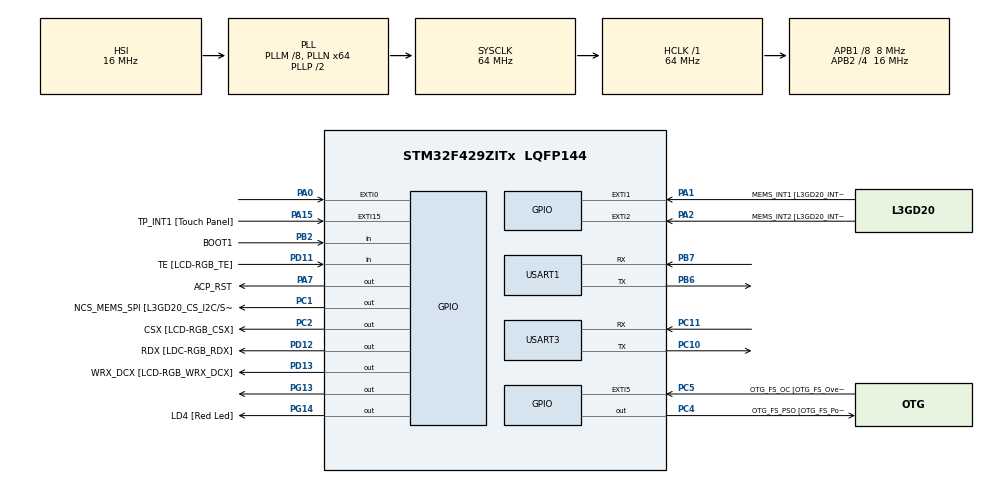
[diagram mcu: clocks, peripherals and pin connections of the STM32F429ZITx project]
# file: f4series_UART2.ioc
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Mcu.Family=STM32F4
Mcu.Name=STM32F429ZITx
Mcu.Package=LQFP144
NVIC.EXTI0_IRQn=true\:0\:0\:false\:false\:true\:true\:true\:true
NVIC.PriorityGroup=NVIC_PRIORITYGROUP_0
NVIC.USART1_IRQn=true\:0\:0\:false\:false\:true\:true\:true\:true
NVIC.USART3_IRQn=true\:0\:0\:false\:false\:true\:true\:true\:true
PA0/WKUP.Signal=GPXTI0
PA1.GPIO_Label=MEMS_INT1 [L3GD20_INT1]
PA1.GPIO_ModeDefaultEXTI=GPIO_MODE_EVT_RISING
PA1.GPIO_PuPd=GPIO_NOPULL
PA1.Signal=GPXTI1
PA11.GPIO_Label=R4
PA11.GPIO_Mode=GPIO_MODE_AF_PP
PA11.GPIO_PuPd=GPIO_NOPULL
PA11.GPIO_Speed=GPIO_SPEED_FREQ_LOW
PA11.Signal=LTDC_R4
PA12.Signal=CAN1_TX
PA13.GPIO_Label=SWDIO
PA13.Signal=SYS_JTMS-SWDIO
PA14.GPIO_Label=SWCLK
PA14.Signal=SYS_JTCK-SWCLK
PA15.GPIO_Label=TP_INT1 [Touch Panel]
PA15.GPIO_ModeDefaultEXTI=GPIO_MODE_EVT_RISING
PA15.GPIO_PuPd=GPIO_NOPULL
PA15.Signal=GPXTI15
PA2.GPIO_Label=MEMS_INT2 [L3GD20_INT2]
PA2.GPIO_ModeDefaultEXTI=GPIO_MODE_EVT_RISING
PA2.GPIO_PuPd=GPIO_NOPULL
PA2.Signal=GPXTI2
PA3.GPIO_Label=B5
PA3.GPIO_Mode=GPIO_MODE_AF_PP
PA3.GPIO_PuPd=GPIO_NOPULL
PA3.GPIO_Speed=GPIO_SPEED_FREQ_LOW
PA3.Signal=LTDC_B5
PA4.GPIO_Label=VSYNC
PA4.GPIO_Mode=GPIO_MODE_AF_PP
PA4.GPIO_PuPd=GPIO_NOPULL
PA4.GPIO_Speed=GPIO_SPEED_FREQ_LOW
PA4.Signal=LTDC_VSYNC
PA6.GPIO_Label=G2
PA6.GPIO_Mode=GPIO_MODE_AF_PP
PA6.GPIO_PuPd=GPIO_NOPULL
PA6.GPIO_Speed=GPIO_SPEED_FREQ_LOW
PA6.Signal=LTDC_G2
PA7.GPIO_Label=ACP_RST
PA7.GPIO_Mode=GPIO_MODE_OUTPUT_PP
PA7.GPIO_PuPd=GPIO_NOPULL
PA7.GPIO_Speed=GPIO_SPEED_FREQ_LOW
PA7.Signal=GPIO_Output
PA8.GPIO_Label=I2C3_SCL [ACP/RF_SCL]
PA8.GPIO_Mode=GPIO_MODE_AF_OD
PA8.GPIO_PuPd=GPIO_NOPULL
PA8.GPIO_Speed=GPIO_SPEED_FREQ_LOW
PA8.Signal=I2C3_SCL
PB0.GPIO_Label=R3
PB0.GPIO_Mode=GPIO_MODE_AF_PP
PB0.GPIO_PuPd=GPIO_NOPULL
PB0.GPIO_Speed=GPIO_SPEED_FREQ_LOW
PB0.Signal=LTDC_R3
PB1.GPIO_Label=R6
PB1.GPIO_Mode=GPIO_MODE_AF_PP
PB1.GPIO_PuPd=GPIO_NOPULL
PB1.GPIO_Speed=GPIO_SPEED_FREQ_LOW
PB1.Signal=LTDC_R6
PB10.GPIO_Label=G4
PB10.GPIO_Mode=GPIO_MODE_AF_PP
PB10.GPIO_PuPd=GPIO_NOPULL
PB10.GPIO_Speed=GPIO_SPEED_FREQ_LOW
PB10.Signal=LTDC_G4
PB11.GPIO_Label=G5
PB11.GPIO_Mode=GPIO_MODE_AF_PP
PB11.GPIO_PuPd=GPIO_NOPULL
PB11.GPIO_Speed=GPIO_SPEED_FREQ_LOW
PB11.Signal=LTDC_G5
PB12.GPIO_Label=OTG_HS_ID
PB12.GPIO_Mode=GPIO_MODE_AF_PP
PB12.GPIO_PuPd=GPIO_NOPULL
PB12.GPIO_Speed=GPIO_SPEED_FREQ_LOW
PB12.Signal=USB_OTG_HS_ID
PB13.GPIO_Label=VBUS_HS
PB13.GPIO_Mode=GPIO_MODE_INPUT
PB13.GPIO_PuPd=GPIO_NOPULL
PB13.Signal=USB_OTG_HS_VBUS
PB14.GPIO_Label=OTG_HS_DM
PB14.GPIO_Mode=GPIO_MODE_AF_PP
PB14.GPIO_PuPd=GPIO_NOPULL
PB14.GPIO_Speed=GPIO_SPEED_FREQ_LOW
PB14.Signal=USB_OTG_HS_DM
PB15.GPIO_Label=OTG_HS_DP
PB15.GPIO_Mode=GPIO_MODE_AF_PP
PB15.GPIO_PuPd=GPIO_NOPULL
PB15.GPIO_Speed=GPIO_SPEED_FREQ_LOW
PB15.Signal=USB_OTG_HS_DP
PB2/BOOT1.GPIO_Label=BOOT1
PB2/BOOT1.GPIO_Mode=GPIO_MODE_INPUT
PB2/BOOT1.GPIO_PuPd=GPIO_NOPULL
PB2/BOOT1.Signal=GPIO_Input
PB5.Signal=FMC_SDCKE1
PB6.Mode=Asynchronous
PB6.Signal=USART1_TX
PB7.Mode=Asynchronous
PB7.Signal=USART1_RX
PB8.GPIO_Label=B6
PB8.GPIO_Mode=GPIO_MODE_AF_PP
PB8.GPIO_PuPd=GPIO_NOPULL
PB8.GPIO_Speed=GPIO_SPEED_FREQ_LOW
PB8.Signal=LTDC_B6
PB9.GPIO_Label=B7
PB9.GPIO_Mode=GPIO_MODE_AF_PP
PB9.GPIO_PuPd=GPIO_NOPULL
PB9.GPIO_Speed=GPIO_SPEED_FREQ_LOW
PB9.Signal=LTDC_B7
PC0.GPIO_Label=SDNWE
PC0.GPIO_Mode=GPIO_MODE_AF_PP
PC0.GPIO_PuPd=GPIO_NOPULL
PC0.GPIO_Speed=GPIO_SPEED_FREQ_VERY_HIGH
PC0.Signal=FMC_SDNWE
PC1.GPIO_Label=NCS_MEMS_SPI [L3GD20_CS_I2C/SPI]
PC1.GPIO_Mode=GPIO_MODE_OUTPUT_PP
PC1.GPIO_PuPd=GPIO_NOPULL
PC1.GPIO_Speed=GPIO_SPEED_FREQ_LOW
PC1.Signal=GPIO_Output
PC10.Mode=Asynchronous
PC10.Signal=USART3_TX
PC11.Mode=Asynchronous
PC11.Signal=USART3_RX
PC14/OSC32_IN.GPIO_Label=PC14-OSC32_IN
PC14/OSC32_IN.Signal=RCC_OSC32_IN
PC15/OSC32_OUT.GPIO_Label=PC15-OSC32_OUT
PC15/OSC32_OUT.Signal=RCC_OSC32_OUT
PC2.GPIO_Label=CSX [LCD-RGB_CSX]
PC2.GPIO_Mode=GPIO_MODE_OUTPUT_PP
PC2.GPIO_PuPd=GPIO_NOPULL
PC2.GPIO_Speed=GPIO_SPEED_FREQ_LOW
PC2.Signal=GPIO_Output
PC4.GPIO_Label=OTG_FS_PSO [OTG_FS_PowerSwitchOn]
PC4.GPIO_Mode=GPIO_MODE_OUTPUT_PP
PC4.GPIO_PuPd=GPIO_NOPULL
PC4.GPIO_Speed=GPIO_SPEED_FREQ_LOW
PC4.Signal=GPIO_Output
PC5.GPIO_Label=OTG_FS_OC [OTG_FS_OverCurrent]
PC5.GPIO_ModeDefaultEXTI=GPIO_MODE_EVT_RISING
PC5.Signal=GPXTI5
PC6.GPIO_Label=HSYNC
PC6.GPIO_Mode=GPIO_MODE_AF_PP
PC6.GPIO_PuPd=GPIO_NOPULL
PC6.GPIO_Speed=GPIO_SPEED_FREQ_LOW
PC6.Signal=LTDC_HSYNC
PC7.GPIO_Label=G6
PC7.GPIO_Mode=GPIO_MODE_AF_PP
PC7.GPIO_PuPd=GPIO_NOPULL
PC7.GPIO_Speed=GPIO_SPEED_FREQ_LOW
PC7.Signal=LTDC_G6
PC9.GPIO_Label=I2C3_SDA [ACP/RF_SDA]
PC9.GPIO_Mode=GPIO_MODE_AF_OD
PC9.GPIO_PuPd=GPIO_NOPULL
PC9.GPIO_Speed=GPIO_SPEED_FREQ_LOW
PC9.Signal=I2C3_SDA
PD0.GPIO_Label=D2
PD0.GPIO_Mode=GPIO_MODE_AF_PP
PD0.GPIO_PuPd=GPIO_NOPULL
PD0.GPIO_Speed=GPIO_SPEED_FREQ_VERY_HIGH
PD0.Signal=FMC_D2_DA2
PD1.GPIO_Label=D3
PD1.GPIO_Mode=GPIO_MODE_AF_PP
PD1.GPIO_PuPd=GPIO_NOPULL
PD1.GPIO_Speed=GPIO_SPEED_FREQ_VERY_HIGH
PD1.Signal=FMC_D3_DA3
PD10.GPIO_Label=D15
PD10.GPIO_Mode=GPIO_MODE_AF_PP
PD10.GPIO_PuPd=GPIO_NOPULL
PD10.GPIO_Speed=GPIO_SPEED_FREQ_VERY_HIGH
PD10.Signal=FMC_D15_DA15
PD11.GPIO_Label=TE [LCD-RGB_TE]
PD11.GPIO_Mode=GPIO_MODE_INPUT
PD11.GPIO_PuPd=GPIO_NOPULL
PD11.Signal=GPIO_Input
PD12.GPIO_Label=RDX [LDC-RGB_RDX]
PD12.GPIO_Mode=GPIO_MODE_OUTPUT_PP
PD12.GPIO_PuPd=GPIO_NOPULL
PD12.GPIO_Speed=GPIO_SPEED_FREQ_LOW
PD12.Signal=GPIO_Output
PD13.GPIO_Label=WRX_DCX [LCD-RGB_WRX_DCX]
PD13.GPIO_Mode=GPIO_MODE_OUTPUT_PP
PD13.GPIO_PuPd=GPIO_NOPULL
PD13.GPIO_Speed=GPIO_SPEED_FREQ_LOW
PD13.Signal=GPIO_Output
PD14.GPIO_Label=D0
PD14.GPIO_Mode=GPIO_MODE_AF_PP
PD14.GPIO_PuPd=GPIO_NOPULL
PD14.GPIO_Speed=GPIO_SPEED_FREQ_VERY_HIGH
PD14.Signal=FMC_D0_DA0
PD15.GPIO_Label=D1
PD15.GPIO_Mode=GPIO_MODE_AF_PP
PD15.GPIO_PuPd=GPIO_NOPULL
PD15.GPIO_Speed=GPIO_SPEED_FREQ_VERY_HIGH
PD15.Signal=FMC_D1_DA1
PD3.GPIO_Label=G7
PD3.GPIO_Mode=GPIO_MODE_AF_PP
PD3.GPIO_PuPd=GPIO_NOPULL
PD3.GPIO_Speed=GPIO_SPEED_FREQ_LOW
PD3.Signal=LTDC_G7
PD6.GPIO_Label=B2
PD6.GPIO_Mode=GPIO_MODE_AF_PP
PD6.GPIO_PuPd=GPIO_NOPULL
PD6.GPIO_Speed=GPIO_SPEED_FREQ_LOW
PD6.Signal=LTDC_B2
PD8.GPIO_Label=D13
PD8.GPIO_Mode=GPIO_MODE_AF_PP
PD8.GPIO_PuPd=GPIO_NOPULL
PD8.GPIO_Speed=GPIO_SPEED_FREQ_VERY_HIGH
PD8.Signal=FMC_D13_DA13
PD9.GPIO_Label=D14
PD9.GPIO_Mode=GPIO_MODE_AF_PP
PD9.GPIO_PuPd=GPIO_NOPULL
PD9.GPIO_Speed=GPIO_SPEED_FREQ_VERY_HIGH
PD9.Signal=FMC_D14_DA14
PE0.GPIO_Label=NBL0 [SDRAM_LDQM]
PE0.GPIO_Mode=GPIO_MODE_AF_PP
PE0.GPIO_PuPd=GPIO_NOPULL
PE0.GPIO_Speed=GPIO_SPEED_FREQ_VERY_HIGH
PE0.Signal=FMC_NBL0
PE1.GPIO_Label=NBL1 [SDRAM_UDQM]
PE1.GPIO_Mode=GPIO_MODE_AF_PP
PE1.GPIO_PuPd=GPIO_NOPULL
PE1.GPIO_Speed=GPIO_SPEED_FREQ_VERY_HIGH
PE1.Signal=FMC_NBL1
PE10.GPIO_Label=D7
PE10.GPIO_Mode=GPIO_MODE_AF_PP
PE10.GPIO_PuPd=GPIO_NOPULL
PE10.GPIO_Speed=GPIO_SPEED_FREQ_VERY_HIGH
PE10.Signal=FMC_D7_DA7
PE11.GPIO_Label=D8
PE11.GPIO_Mode=GPIO_MODE_AF_PP
PE11.GPIO_PuPd=GPIO_NOPULL
PE11.GPIO_Speed=GPIO_SPEED_FREQ_VERY_HIGH
PE11.Signal=FMC_D8_DA8
PE12.GPIO_Label=D9
PE12.GPIO_Mode=GPIO_MODE_AF_PP
PE12.GPIO_PuPd=GPIO_NOPULL
PE12.GPIO_Speed=GPIO_SPEED_FREQ_VERY_HIGH
PE12.Signal=FMC_D9_DA9
PE13.GPIO_Label=D10
PE13.GPIO_Mode=GPIO_MODE_AF_PP
PE13.GPIO_PuPd=GPIO_NOPULL
PE13.GPIO_Speed=GPIO_SPEED_FREQ_VERY_HIGH
PE13.Signal=FMC_D10_DA10
PE14.GPIO_Label=D11
PE14.GPIO_Mode=GPIO_MODE_AF_PP
PE14.GPIO_PuPd=GPIO_NOPULL
PE14.GPIO_Speed=GPIO_SPEED_FREQ_VERY_HIGH
PE14.Signal=FMC_D11_DA11
PE15.GPIO_Label=D12
PE15.GPIO_Mode=GPIO_MODE_AF_PP
PE15.GPIO_PuPd=GPIO_NOPULL
PE15.GPIO_Speed=GPIO_SPEED_FREQ_VERY_HIGH
PE15.Signal=FMC_D12_DA12
PE7.GPIO_Label=D4
PE7.GPIO_Mode=GPIO_MODE_AF_PP
PE7.GPIO_PuPd=GPIO_NOPULL
PE7.GPIO_Speed=GPIO_SPEED_FREQ_VERY_HIGH
PE7.Signal=FMC_D4_DA4
PE8.GPIO_Label=D5
PE8.GPIO_Mode=GPIO_MODE_AF_PP
PE8.GPIO_PuPd=GPIO_NOPULL
PE8.GPIO_Speed=GPIO_SPEED_FREQ_VERY_HIGH
PE8.Signal=FMC_D5_DA5
PE9.GPIO_Label=D6
PE9.GPIO_Mode=GPIO_MODE_AF_PP
PE9.GPIO_PuPd=GPIO_NOPULL
PE9.GPIO_Speed=GPIO_SPEED_FREQ_VERY_HIGH
PE9.Signal=FMC_D6_DA6
PF0.GPIO_Label=A0
PF0.GPIO_Mode=GPIO_MODE_AF_PP
PF0.GPIO_PuPd=GPIO_NOPULL
PF0.GPIO_Speed=GPIO_SPEED_FREQ_VERY_HIGH
PF0.Signal=FMC_A0
PF1.GPIO_Label=A1
PF1.GPIO_Mode=GPIO_MODE_AF_PP
PF1.GPIO_PuPd=GPIO_NOPULL
PF1.GPIO_Speed=GPIO_SPEED_FREQ_VERY_HIGH
PF1.Signal=FMC_A1
PF10.GPIO_Label=ENABLE [LCD-RGB_ENABLE]
PF10.GPIO_Mode=GPIO_MODE_AF_PP
PF10.GPIO_PuPd=GPIO_NOPULL
PF10.GPIO_Speed=GPIO_SPEED_FREQ_LOW
PF10.Signal=LTDC_DE
PF11.GPIO_Label=SDNRAS
PF11.GPIO_Mode=GPIO_MODE_AF_PP
PF11.GPIO_PuPd=GPIO_NOPULL
PF11.GPIO_Speed=GPIO_SPEED_FREQ_VERY_HIGH
PF11.Signal=FMC_SDNRAS
PF12.GPIO_Label=A6
PF12.GPIO_Mode=GPIO_MODE_AF_PP
PF12.GPIO_PuPd=GPIO_NOPULL
PF12.GPIO_Speed=GPIO_SPEED_FREQ_VERY_HIGH
PF12.Signal=FMC_A6
PF13.GPIO_Label=A7
PF13.GPIO_Mode=GPIO_MODE_AF_PP
PF13.GPIO_PuPd=GPIO_NOPULL
PF13.GPIO_Speed=GPIO_SPEED_FREQ_VERY_HIGH
PF13.Signal=FMC_A7
PF14.GPIO_Label=A8
PF14.GPIO_Mode=GPIO_MODE_AF_PP
PF14.GPIO_PuPd=GPIO_NOPULL
PF14.GPIO_Speed=GPIO_SPEED_FREQ_VERY_HIGH
PF14.Signal=FMC_A8
PF15.GPIO_Label=A9
PF15.GPIO_Mode=GPIO_MODE_AF_PP
PF15.GPIO_PuPd=GPIO_NOPULL
PF15.GPIO_Speed=GPIO_SPEED_FREQ_VERY_HIGH
PF15.Signal=FMC_A9
PF2.GPIO_Label=A2
PF2.GPIO_Mode=GPIO_MODE_AF_PP
PF2.GPIO_PuPd=GPIO_NOPULL
PF2.GPIO_Speed=GPIO_SPEED_FREQ_VERY_HIGH
PF2.Signal=FMC_A2
PF3.GPIO_Label=A3
PF3.GPIO_Mode=GPIO_MODE_AF_PP
PF3.GPIO_PuPd=GPIO_NOPULL
PF3.GPIO_Speed=GPIO_SPEED_FREQ_VERY_HIGH
PF3.Signal=FMC_A3
PF4.GPIO_Label=A4
PF4.GPIO_Mode=GPIO_MODE_AF_PP
PF4.GPIO_PuPd=GPIO_NOPULL
PF4.GPIO_Speed=GPIO_SPEED_FREQ_VERY_HIGH
PF4.Signal=FMC_A4
PF5.GPIO_Label=A5
PF5.GPIO_Mode=GPIO_MODE_AF_PP
PF5.GPIO_PuPd=GPIO_NOPULL
PF5.GPIO_Speed=GPIO_SPEED_FREQ_VERY_HIGH
PF5.Signal=FMC_A5
PF7.GPIO_Label=SPI5_SCK [L3GD20_SCL/SPC]
PF7.GPIO_Mode=GPIO_MODE_AF_PP
PF7.GPIO_PuPd=GPIO_NOPULL
PF7.GPIO_Speed=GPIO_SPEED_FREQ_LOW
PF7.Signal=SPI5_SCK
PF8.GPIO_Label=SPI5_MISO [L3GD20_SDO]
PF8.GPIO_Mode=GPIO_MODE_AF_PP
PF8.GPIO_PuPd=GPIO_NOPULL
PF8.GPIO_Speed=GPIO_SPEED_FREQ_LOW
PF8.Signal=SPI5_MISO
PF9.GPIO_Label=SPI5_MOSI [L3GD20_SDA/SDI/SDO]
PF9.GPIO_Mode=GPIO_MODE_AF_PP
PF9.GPIO_PuPd=GPIO_NOPULL
PF9.GPIO_Speed=GPIO_SPEED_FREQ_LOW
PF9.Signal=SPI5_MOSI
PG0.GPIO_Label=A10
PG0.GPIO_Mode=GPIO_MODE_AF_PP
PG0.GPIO_PuPd=GPIO_NOPULL
PG0.GPIO_Speed=GPIO_SPEED_FREQ_VERY_HIGH
PG0.Signal=FMC_A10
PG1.GPIO_Label=A11
PG1.GPIO_Mode=GPIO_MODE_AF_PP
PG1.GPIO_PuPd=GPIO_NOPULL
PG1.GPIO_Speed=GPIO_SPEED_FREQ_VERY_HIGH
PG1.Signal=FMC_A11
PG10.GPIO_Label=G3
PG10.GPIO_Mode=GPIO_MODE_AF_PP
PG10.GPIO_PuPd=GPIO_NOPULL
PG10.GPIO_Speed=GPIO_SPEED_FREQ_LOW
PG10.Signal=LTDC_G3
PG11.GPIO_Label=B3
PG11.GPIO_Mode=GPIO_MODE_AF_PP
PG11.GPIO_PuPd=GPIO_NOPULL
PG11.GPIO_Speed=GPIO_SPEED_FREQ_LOW
PG11.Signal=LTDC_B3
PG12.GPIO_Label=B4
PG12.GPIO_Mode=GPIO_MODE_AF_PP
PG12.GPIO_PuPd=GPIO_NOPULL
PG12.GPIO_Speed=GPIO_SPEED_FREQ_LOW
PG12.Signal=LTDC_B4
PG13.Signal=GPIO_Output
PG14.GPIO_Label=LD4 [Red Led]
PG14.GPIO_Mode=GPIO_MODE_OUTPUT_PP
PG14.GPIO_PuPd=GPIO_NOPULL
PG14.GPIO_Speed=GPIO_SPEED_FREQ_LOW
PG14.Signal=GPIO_Output
PG15.GPIO_Label=SDNCAS
PG15.GPIO_Mode=GPIO_MODE_AF_PP
PG15.GPIO_PuPd=GPIO_NOPULL
PG15.GPIO_Speed=GPIO_SPEED_FREQ_VERY_HIGH
PG15.Signal=FMC_SDNCAS
PG4.GPIO_Label=BA0
PG4.GPIO_Mode=GPIO_MODE_AF_PP
PG4.GPIO_PuPd=GPIO_NOPULL
PG4.GPIO_Speed=GPIO_SPEED_FREQ_VERY_HIGH
PG4.Signal=FMC_A14_BA0
PG5.GPIO_Label=BA1
PG5.GPIO_Mode=GPIO_MODE_AF_PP
PG5.GPIO_PuPd=GPIO_NOPULL
PG5.GPIO_Speed=GPIO_SPEED_FREQ_VERY_HIGH
PG5.Signal=FMC_A15_BA1
PG6.GPIO_Label=R7
PG6.GPIO_Mode=GPIO_MODE_AF_PP
PG6.GPIO_PuPd=GPIO_NOPULL
PG6.GPIO_Speed=GPIO_SPEED_FREQ_LOW
PG6.Signal=LTDC_R7
PG7.GPIO_Label=DOTCLK [LCT-RGB_DOTCLK]
PG7.GPIO_Mode=GPIO_MODE_AF_PP
PG7.GPIO_PuPd=GPIO_NOPULL
PG7.GPIO_Speed=GPIO_SPEED_FREQ_LOW
PG7.Signal=LTDC_CLK
PG8.GPIO_Label=SDCLK
PG8.GPIO_Mode=GPIO_MODE_AF_PP
PG8.GPIO_PuPd=GPIO_NOPULL
PG8.GPIO_Speed=GPIO_SPEED_FREQ_VERY_HIGH
PG8.Signal=FMC_SDCLK
PH0/OSC_IN.GPIO_Label=PH0-OSC_IN
PH0/OSC_IN.Signal=RCC_OSC_IN
PH1/OSC_OUT.GPIO_Label=PH1-OSC_OUT
PH1/OSC_OUT.Signal=RCC_OSC_OUT
ProjectManager.HeapSize=0x200
ProjectManager.StackSize=0x400
ProjectManager.TargetToolchain=STM32CubeIDE
RCC.48MHZClocksFreq_Value=18285714.285714287
RCC.AHBFreq_Value=64000000
RCC.APB1CLKDivider=RCC_HCLK_DIV8
RCC.APB1Freq_Value=8000000
RCC.APB1TimFreq_Value=16000000
RCC.APB2CLKDivider=RCC_HCLK_DIV4
RCC.APB2Freq_Value=16000000
RCC.APB2TimFreq_Value=32000000
RCC.CortexFreq_Value=64000000
RCC.HCLKFreq_Value=64000000
RCC.HSE_VALUE=8000000
RCC.HSI_VALUE=16000000
RCC.LSE_VALUE=32768
RCC.PLLM=8
RCC.PLLN=64
RCC.PLLQ=7
RCC.SYSCLKFreq_VALUE=64000000
RCC.SYSCLKSource=RCC_SYSCLKSOURCE_PLLCLK
RCC.VCOOutputFreq_Value=128000000
SH.FMC_A0.0=FMC_A0
SH.FMC_A1.0=FMC_A1
SH.FMC_A10.0=FMC_A10
SH.FMC_A11.0=FMC_A11
SH.FMC_A14_BA0.0=FMC_BA0
SH.FMC_A15_BA1.0=FMC_BA1
SH.FMC_A2.0=FMC_A2
SH.FMC_A3.0=FMC_A3
SH.FMC_A4.0=FMC_A4
SH.FMC_A5.0=FMC_A5
SH.FMC_A6.0=FMC_A6
SH.FMC_A7.0=FMC_A7
SH.FMC_A8.0=FMC_A8
SH.FMC_A9.0=FMC_A9
SH.FMC_D0_DA0.0=FMC_D0
SH.FMC_D10_DA10.0=FMC_D10
SH.FMC_D11_DA11.0=FMC_D11
SH.FMC_D12_DA12.0=FMC_D12
SH.FMC_D13_DA13.0=FMC_D13
SH.FMC_D14_DA14.0=FMC_D14
SH.FMC_D15_DA15.0=FMC_D15
SH.FMC_D1_DA1.0=FMC_D1
SH.FMC_D2_DA2.0=FMC_D2
SH.FMC_D3_DA3.0=FMC_D3
SH.FMC_D4_DA4.0=FMC_D4
SH.FMC_D5_DA5.0=FMC_D5
SH.FMC_D6_DA6.0=FMC_D6
SH.FMC_D7_DA7.0=FMC_D7
SH.FMC_D8_DA8.0=FMC_D8
SH.FMC_D9_DA9.0=FMC_D9
SH.FMC_NBL0.0=FMC_NBL0
SH.FMC_NBL1.0=FMC_NBL1
SH.FMC_SDCLK.0=FMC_SDCLK
SH.FMC_SDNCAS.0=FMC_SDNCAS
SH.FMC_SDNRAS.0=FMC_SDNRAS
SH.FMC_SDNWE.0=FMC_SDNWE
USART1.VirtualMode=VM_ASYNC
USART3.VirtualMode=VM_ASYNC
board=STM32F429I-DISC1

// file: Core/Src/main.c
/* USER CODE BEGIN Header */
/**
  ******************************************************************************
  * @file           : main.c
  * @brief          : Main program body
  ******************************************************************************
  * @attention
  *
  * Copyright (c) 2023 STMicroelectronics.
  * All rights reserved.
  *
  * This software is licensed under terms that can be found in the LICENSE file
  * in the root directory of this software component.
  * If no LICENSE file comes with this software, it is provided AS-IS.
  *
  ******************************************************************************
  */
/* USER CODE END Header */
#include "main.h"

/* USER CODE BEGIN Includes */
#include <string.h>
/* USER CODE END Includes */

/* USER CODE BEGIN PM */
//Header msgid datalen data checksum footer//
#define HEADER 0xAA
#define FOOTER 0xCC
/* USER CODE END PM */

UART_HandleTypeDef huart1;
UART_HandleTypeDef huart3;

/* USER CODE BEGIN PV */
uint8_t rx_data[7];
//uint8_t tx_data[7] = {0xAA,0x21,0x02,0x01,0x03,0x21,0xCC};
uint8_t msgid, checksum,dlc,data1,data2;

union tx_frame{

    struct TxFrame{
    	uint8_t header;
    	uint8_t msgid;
    	uint8_t datalen;
    	uint8_t data[2];
    	uint8_t checksum;
    	uint8_t footer;
    }frame;

    uint8_t tx_data[7];
}tx;

/* USER CODE END PV */

void SystemClock_Config(void);
static void MX_GPIO_Init(void);
static void MX_USART1_UART_Init(void);
static void MX_USART3_UART_Init(void);
/* USER CODE BEGIN PFP */
/* USER CODE BEGIN 4 */
void generate_uart_frame(void);
/* USER CODE END PFP */

int main(void)
{

  /* MCU Configuration--------------------------------------------------------*/

  /* Reset of all peripherals, Initializes the Flash interface and the Systick. */
  HAL_Init();

  /* Configure the system clock */
  SystemClock_Config();

  /* Initialize all configured peripherals */
  MX_GPIO_Init();
  MX_USART1_UART_Init();
  MX_USART3_UART_Init();
  /* USER CODE BEGIN 2 */
  /* Generate the frame to be transmitted bu initializing the structure*/
  generate_uart_frame();
  /*Enable Reception of Uart3 in interrupt mode*/
  HAL_UART_Receive_IT(&huart3, (uint8_t*)&rx_data,sizeof(tx.tx_data));
  /* USER CODE END 2 */

  /* Infinite loop */
  while (1)
  {

    /* USER CODE BEGIN 3 */
    /*data bytes received in UART3 ISR is checked*/
	  if((data1 == 0x01) && (data2 ==0x03))
	  {
      /*Toggle the LED*/
		  HAL_GPIO_TogglePin(GPIOG,GPIO_PIN_13);
		  data1=0;
		  data2=0;
	  }
  }
  /* USER CODE END 3 */
}

void SystemClock_Config(void)
{
  RCC_OscInitTypeDef RCC_OscInitStruct = {0};
  RCC_ClkInitTypeDef RCC_ClkInitStruct = {0};

  /** Configure the main internal regulator output voltage
  */
  __HAL_RCC_PWR_CLK_ENABLE();
  __HAL_PWR_VOLTAGESCALING_CONFIG(PWR_REGULATOR_VOLTAGE_SCALE3);

  /** Initializes the RCC Oscillators according to the specified parameters
  * in the RCC_OscInitTypeDef structure.
  */
  RCC_OscInitStruct.OscillatorType = RCC_OSCILLATORTYPE_HSI;
  RCC_OscInitStruct.HSIState = RCC_HSI_ON;
  RCC_OscInitStruct.HSICalibrationValue = RCC_HSICALIBRATION_DEFAULT;
  RCC_OscInitStruct.PLL.PLLState = RCC_PLL_ON;
  RCC_OscInitStruct.PLL.PLLSource = RCC_PLLSOURCE_HSI;
  RCC_OscInitStruct.PLL.PLLM = 8;
  RCC_OscInitStruct.PLL.PLLN = 64;
  RCC_OscInitStruct.PLL.PLLP = RCC_PLLP_DIV2;
  RCC_OscInitStruct.PLL.PLLQ = 7;
  if (HAL_RCC_OscConfig(&RCC_OscInitStruct) != HAL_OK)
  {
    Error_Handler();
  }

  /** Initializes the CPU, AHB and APB buses clocks
  */
  RCC_ClkInitStruct.ClockType = RCC_CLOCKTYPE_HCLK|RCC_CLOCKTYPE_SYSCLK
                              |RCC_CLOCKTYPE_PCLK1|RCC_CLOCKTYPE_PCLK2;
  RCC_ClkInitStruct.SYSCLKSource = RCC_SYSCLKSOURCE_PLLCLK;
  RCC_ClkInitStruct.AHBCLKDivider = RCC_SYSCLK_DIV1;
  RCC_ClkInitStruct.APB1CLKDivider = RCC_HCLK_DIV8;
  RCC_ClkInitStruct.APB2CLKDivider = RCC_HCLK_DIV4;

  if (HAL_RCC_ClockConfig(&RCC_ClkInitStruct, FLASH_LATENCY_2) != HAL_OK)
  {
    Error_Handler();
  }
}

static void MX_USART1_UART_Init(void)
{

  huart1.Instance = USART1;
  huart1.Init.BaudRate = 115200;
  huart1.Init.WordLength = UART_WORDLENGTH_8B;
  huart1.Init.StopBits = UART_STOPBITS_1;
  huart1.Init.Parity = UART_PARITY_NONE;
  huart1.Init.Mode = UART_MODE_TX_RX;
  huart1.Init.HwFlowCtl = UART_HWCONTROL_NONE;
  huart1.Init.OverSampling = UART_OVERSAMPLING_16;
  if (HAL_UART_Init(&huart1) != HAL_OK)
  {
    Error_Handler();
  }

}

static void MX_USART3_UART_Init(void)
{

  huart3.Instance = USART3;
  huart3.Init.BaudRate = 115200;
  huart3.Init.WordLength = UART_WORDLENGTH_8B;
  huart3.Init.StopBits = UART_STOPBITS_1;
  huart3.Init.Parity = UART_PARITY_NONE;
  huart3.Init.Mode = UART_MODE_TX_RX;
  huart3.Init.HwFlowCtl = UART_HWCONTROL_NONE;
  huart3.Init.OverSampling = UART_OVERSAMPLING_16;
  if (HAL_UART_Init(&huart3) != HAL_OK)
  {
    Error_Handler();
  }

}

static void MX_GPIO_Init(void)
{
  GPIO_InitTypeDef GPIO_InitStruct = {0};

  /* GPIO Ports Clock Enable */
  __HAL_RCC_GPIOC_CLK_ENABLE();
  __HAL_RCC_GPIOF_CLK_ENABLE();
  __HAL_RCC_GPIOH_CLK_ENABLE();
  __HAL_RCC_GPIOA_CLK_ENABLE();
  __HAL_RCC_GPIOB_CLK_ENABLE();
  __HAL_RCC_GPIOG_CLK_ENABLE();
  __HAL_RCC_GPIOE_CLK_ENABLE();
  __HAL_RCC_GPIOD_CLK_ENABLE();

  /*Configure GPIO pin Output Level */
  HAL_GPIO_WritePin(GPIOC, NCS_MEMS_SPI_Pin|CSX_Pin|OTG_FS_PSO_Pin, GPIO_PIN_RESET);

  /*Configure GPIO pin Output Level */
  HAL_GPIO_WritePin(ACP_RST_GPIO_Port, ACP_RST_Pin, GPIO_PIN_RESET);

  /*Configure GPIO pin Output Level */
  HAL_GPIO_WritePin(GPIOD, RDX_Pin|WRX_DCX_Pin, GPIO_PIN_RESET);

  /*Configure GPIO pin Output Level */
  HAL_GPIO_WritePin(GPIOG, GPIO_PIN_13|LD4_Pin, GPIO_PIN_RESET);

  /*Configure GPIO pins : A0_Pin A1_Pin A2_Pin A3_Pin
                           A4_Pin A5_Pin SDNRAS_Pin A6_Pin
                           A7_Pin A8_Pin A9_Pin */
  GPIO_InitStruct.Pin = A0_Pin|A1_Pin|A2_Pin|A3_Pin
                          |A4_Pin|A5_Pin|SDNRAS_Pin|A6_Pin
                          |A7_Pin|A8_Pin|A9_Pin;
  GPIO_InitStruct.Mode = GPIO_MODE_AF_PP;
  GPIO_InitStruct.Pull = GPIO_NOPULL;
  GPIO_InitStruct.Speed = GPIO_SPEED_FREQ_VERY_HIGH;
  GPIO_InitStruct.Alternate = GPIO_AF12_FMC;
  HAL_GPIO_Init(GPIOF, &GPIO_InitStruct);

  /*Configure GPIO pins : SPI5_SCK_Pin SPI5_MISO_Pin SPI5_MOSI_Pin */
  GPIO_InitStruct.Pin = SPI5_SCK_Pin|SPI5_MISO_Pin|SPI5_MOSI_Pin;
  GPIO_InitStruct.Mode = GPIO_MODE_AF_PP;
  GPIO_InitStruct.Pull = GPIO_NOPULL;
  GPIO_InitStruct.Speed = GPIO_SPEED_FREQ_LOW;
  GPIO_InitStruct.Alternate = GPIO_AF5_SPI5;
  HAL_GPIO_Init(GPIOF, &GPIO_InitStruct);

  /*Configure GPIO pin : ENABLE_Pin */
  GPIO_InitStruct.Pin = ENABLE_Pin;
  GPIO_InitStruct.Mode = GPIO_MODE_AF_PP;
  GPIO_InitStruct.Pull = GPIO_NOPULL;
  GPIO_InitStruct.Speed = GPIO_SPEED_FREQ_LOW;
  GPIO_InitStruct.Alternate = GPIO_AF14_LTDC;
  HAL_GPIO_Init(ENABLE_GPIO_Port, &GPIO_InitStruct);

  /*Configure GPIO pin : SDNWE_Pin */
  GPIO_InitStruct.Pin = SDNWE_Pin;
  GPIO_InitStruct.Mode = GPIO_MODE_AF_PP;
  GPIO_InitStruct.Pull = GPIO_NOPULL;
  GPIO_InitStruct.Speed = GPIO_SPEED_FREQ_VERY_HIGH;
  GPIO_InitStruct.Alternate = GPIO_AF12_FMC;
  HAL_GPIO_Init(SDNWE_GPIO_Port, &GPIO_InitStruct);

  /*Configure GPIO pins : NCS_MEMS_SPI_Pin CSX_Pin OTG_FS_PSO_Pin */
  GPIO_InitStruct.Pin = NCS_MEMS_SPI_Pin|CSX_Pin|OTG_FS_PSO_Pin;
  GPIO_InitStruct.Mode = GPIO_MODE_OUTPUT_PP;
  GPIO_InitStruct.Pull = GPIO_NOPULL;
  GPIO_InitStruct.Speed = GPIO_SPEED_FREQ_LOW;
  HAL_GPIO_Init(GPIOC, &GPIO_InitStruct);

  /*Configure GPIO pin : PA0 */
  GPIO_InitStruct.Pin = GPIO_PIN_0;
  GPIO_InitStruct.Mode = GPIO_MODE_IT_RISING;
  GPIO_InitStruct.Pull = GPIO_NOPULL;
  HAL_GPIO_Init(GPIOA, &GPIO_InitStruct);

  /*Configure GPIO pins : MEMS_INT1_Pin MEMS_INT2_Pin TP_INT1_Pin */
  GPIO_InitStruct.Pin = MEMS_INT1_Pin|MEMS_INT2_Pin|TP_INT1_Pin;
  GPIO_InitStruct.Mode = GPIO_MODE_EVT_RISING;
  GPIO_InitStruct.Pull = GPIO_NOPULL;
  HAL_GPIO_Init(GPIOA, &GPIO_InitStruct);

  /*Configure GPIO pins : B5_Pin VSYNC_Pin G2_Pin R4_Pin */
  GPIO_InitStruct.Pin = B5_Pin|VSYNC_Pin|G2_Pin|R4_Pin;
  GPIO_InitStruct.Mode = GPIO_MODE_AF_PP;
  GPIO_InitStruct.Pull = GPIO_NOPULL;
  GPIO_InitStruct.Speed = GPIO_SPEED_FREQ_LOW;
  GPIO_InitStruct.Alternate = GPIO_AF14_LTDC;
  HAL_GPIO_Init(GPIOA, &GPIO_InitStruct);

  /*Configure GPIO pin : ACP_RST_Pin */
  GPIO_InitStruct.Pin = ACP_RST_Pin;
  GPIO_InitStruct.Mode = GPIO_MODE_OUTPUT_PP;
  GPIO_InitStruct.Pull = GPIO_NOPULL;
  GPIO_InitStruct.Speed = GPIO_SPEED_FREQ_LOW;
  HAL_GPIO_Init(ACP_RST_GPIO_Port, &GPIO_InitStruct);

  /*Configure GPIO pin : OTG_FS_OC_Pin */
  GPIO_InitStruct.Pin = OTG_FS_OC_Pin;
  GPIO_InitStruct.Mode = GPIO_MODE_EVT_RISING;
  GPIO_InitStruct.Pull = GPIO_NOPULL;
  HAL_GPIO_Init(OTG_FS_OC_GPIO_Port, &GPIO_InitStruct);

  /*Configure GPIO pins : R3_Pin R6_Pin */
  GPIO_InitStruct.Pin = R3_Pin|R6_Pin;
  GPIO_InitStruct.Mode = GPIO_MODE_AF_PP;
  GPIO_InitStruct.Pull = GPIO_NOPULL;
  GPIO_InitStruct.Speed = GPIO_SPEED_FREQ_LOW;
  GPIO_InitStruct.Alternate = GPIO_AF9_LTDC;
  HAL_GPIO_Init(GPIOB, &GPIO_InitStruct);

  /*Configure GPIO pin : BOOT1_Pin */
  GPIO_InitStruct.Pin = BOOT1_Pin;
  GPIO_InitStruct.Mode = GPIO_MODE_INPUT;
  GPIO_InitStruct.Pull = GPIO_NOPULL;
  HAL_GPIO_Init(BOOT1_GPIO_Port, &GPIO_InitStruct);

  /*Configure GPIO pins : A10_Pin A11_Pin BA0_Pin BA1_Pin
                           SDCLK_Pin SDNCAS_Pin */
  GPIO_InitStruct.Pin = A10_Pin|A11_Pin|BA0_Pin|BA1_Pin
                          |SDCLK_Pin|SDNCAS_Pin;
  GPIO_InitStruct.Mode = GPIO_MODE_AF_PP;
  GPIO_InitStruct.Pull = GPIO_NOPULL;
  GPIO_InitStruct.Speed = GPIO_SPEED_FREQ_VERY_HIGH;
  GPIO_InitStruct.Alternate = GPIO_AF12_FMC;
  HAL_GPIO_Init(GPIOG, &GPIO_InitStruct);

  /*Configure GPIO pins : D4_Pin D5_Pin D6_Pin D7_Pin
                           D8_Pin D9_Pin D10_Pin D11_Pin
                           D12_Pin NBL0_Pin NBL1_Pin */
  GPIO_InitStruct.Pin = D4_Pin|D5_Pin|D6_Pin|D7_Pin
                          |D8_Pin|D9_Pin|D10_Pin|D11_Pin
                          |D12_Pin|NBL0_Pin|NBL1_Pin;
  GPIO_InitStruct.Mode = GPIO_MODE_AF_PP;
  GPIO_InitStruct.Pull = GPIO_NOPULL;
  GPIO_InitStruct.Speed = GPIO_SPEED_FREQ_VERY_HIGH;
  GPIO_InitStruct.Alternate = GPIO_AF12_FMC;
  HAL_GPIO_Init(GPIOE, &GPIO_InitStruct);

  /*Configure GPIO pins : G4_Pin G5_Pin B6_Pin B7_Pin */
  GPIO_InitStruct.Pin = G4_Pin|G5_Pin|B6_Pin|B7_Pin;
  GPIO_InitStruct.Mode = GPIO_MODE_AF_PP;
  GPIO_InitStruct.Pull = GPIO_NOPULL;
  GPIO_InitStruct.Speed = GPIO_SPEED_FREQ_LOW;
  GPIO_InitStruct.Alternate = GPIO_AF14_LTDC;
  HAL_GPIO_Init(GPIOB, &GPIO_InitStruct);

  /*Configure GPIO pins : OTG_HS_ID_Pin OTG_HS_DM_Pin OTG_HS_DP_Pin */
  GPIO_InitStruct.Pin = OTG_HS_ID_Pin|OTG_HS_DM_Pin|OTG_HS_DP_Pin;
  GPIO_InitStruct.Mode = GPIO_MODE_AF_PP;
  GPIO_InitStruct.Pull = GPIO_NOPULL;
  GPIO_InitStruct.Speed = GPIO_SPEED_FREQ_LOW;
  GPIO_InitStruct.Alternate = GPIO_AF12_OTG_HS_FS;
  HAL_GPIO_Init(GPIOB, &GPIO_InitStruct);

  /*Configure GPIO pin : VBUS_HS_Pin */
  GPIO_InitStruct.Pin = VBUS_HS_Pin;
  GPIO_InitStruct.Mode = GPIO_MODE_INPUT;
  GPIO_InitStruct.Pull = GPIO_NOPULL;
  HAL_GPIO_Init(VBUS_HS_GPIO_Port, &GPIO_InitStruct);

  /*Configure GPIO pins : D13_Pin D14_Pin D15_Pin D0_Pin
                           D1_Pin D2_Pin D3_Pin */
  GPIO_InitStruct.Pin = D13_Pin|D14_Pin|D15_Pin|D0_Pin
                          |D1_Pin|D2_Pin|D3_Pin;
  GPIO_InitStruct.Mode = GPIO_MODE_AF_PP;
  GPIO_InitStruct.Pull = GPIO_NOPULL;
  GPIO_InitStruct.Speed = GPIO_SPEED_FREQ_VERY_HIGH;
  GPIO_InitStruct.Alternate = GPIO_AF12_FMC;
  HAL_GPIO_Init(GPIOD, &GPIO_InitStruct);

  /*Configure GPIO pin : TE_Pin */
  GPIO_InitStruct.Pin = TE_Pin;
  GPIO_InitStruct.Mode = GPIO_MODE_INPUT;
  GPIO_InitStruct.Pull = GPIO_NOPULL;
  HAL_GPIO_Init(TE_GPIO_Port, &GPIO_InitStruct);

  /*Configure GPIO pins : RDX_Pin WRX_DCX_Pin */
  GPIO_InitStruct.Pin = RDX_Pin|WRX_DCX_Pin;
  GPIO_InitStruct.Mode = GPIO_MODE_OUTPUT_PP;
  GPIO_InitStruct.Pull = GPIO_NOPULL;
  GPIO_InitStruct.Speed = GPIO_SPEED_FREQ_LOW;
  HAL_GPIO_Init(GPIOD, &GPIO_InitStruct);

  /*Configure GPIO pins : R7_Pin DOTCLK_Pin B3_Pin */
  GPIO_InitStruct.Pin = R7_Pin|DOTCLK_Pin|B3_Pin;
  GPIO_InitStruct.Mode = GPIO_MODE_AF_PP;
  GPIO_InitStruct.Pull = GPIO_NOPULL;
  GPIO_InitStruct.Speed = GPIO_SPEED_FREQ_LOW;
  GPIO_InitStruct.Alternate = GPIO_AF14_LTDC;
  HAL_GPIO_Init(GPIOG, &GPIO_InitStruct);

  /*Configure GPIO pins : HSYNC_Pin G6_Pin */
  GPIO_InitStruct.Pin = HSYNC_Pin|G6_Pin;
  GPIO_InitStruct.Mode = GPIO_MODE_AF_PP;
  GPIO_InitStruct.Pull = GPIO_NOPULL;
  GPIO_InitStruct.Speed = GPIO_SPEED_FREQ_LOW;
  GPIO_InitStruct.Alternate = GPIO_AF14_LTDC;
  HAL_GPIO_Init(GPIOC, &GPIO_InitStruct);

  /*Configure GPIO pin : I2C3_SDA_Pin */
  GPIO_InitStruct.Pin = I2C3_SDA_Pin;
  GPIO_InitStruct.Mode = GPIO_MODE_AF_OD;
  GPIO_InitStruct.Pull = GPIO_NOPULL;
  GPIO_InitStruct.Speed = GPIO_SPEED_FREQ_LOW;
  GPIO_InitStruct.Alternate = GPIO_AF4_I2C3;
  HAL_GPIO_Init(I2C3_SDA_GPIO_Port, &GPIO_InitStruct);

  /*Configure GPIO pin : I2C3_SCL_Pin */
  GPIO_InitStruct.Pin = I2C3_SCL_Pin;
  GPIO_InitStruct.Mode = GPIO_MODE_AF_OD;
  GPIO_InitStruct.Pull = GPIO_NOPULL;
  GPIO_InitStruct.Speed = GPIO_SPEED_FREQ_LOW;
  GPIO_InitStruct.Alternate = GPIO_AF4_I2C3;
  HAL_GPIO_Init(I2C3_SCL_GPIO_Port, &GPIO_InitStruct);

  /*Configure GPIO pin : PA12 */
  GPIO_InitStruct.Pin = GPIO_PIN_12;
  GPIO_InitStruct.Mode = GPIO_MODE_AF_PP;
  GPIO_InitStruct.Pull = GPIO_NOPULL;
  GPIO_InitStruct.Speed = GPIO_SPEED_FREQ_VERY_HIGH;
  GPIO_InitStruct.Alternate = GPIO_AF9_CAN1;
  HAL_GPIO_Init(GPIOA, &GPIO_InitStruct);

  /*Configure GPIO pins : G7_Pin B2_Pin */
  GPIO_InitStruct.Pin = G7_Pin|B2_Pin;
  GPIO_InitStruct.Mode = GPIO_MODE_AF_PP;
  GPIO_InitStruct.Pull = GPIO_NOPULL;
  GPIO_InitStruct.Speed = GPIO_SPEED_FREQ_LOW;
  GPIO_InitStruct.Alternate = GPIO_AF14_LTDC;
  HAL_GPIO_Init(GPIOD, &GPIO_InitStruct);

  /*Configure GPIO pins : G3_Pin B4_Pin */
  GPIO_InitStruct.Pin = G3_Pin|B4_Pin;
  GPIO_InitStruct.Mode = GPIO_MODE_AF_PP;
  GPIO_InitStruct.Pull = GPIO_NOPULL;
  GPIO_InitStruct.Speed = GPIO_SPEED_FREQ_LOW;
  GPIO_InitStruct.Alternate = GPIO_AF9_LTDC;
  HAL_GPIO_Init(GPIOG, &GPIO_InitStruct);

  /*Configure GPIO pins : PG13 LD4_Pin */
  GPIO_InitStruct.Pin = GPIO_PIN_13|LD4_Pin;
  GPIO_InitStruct.Mode = GPIO_MODE_OUTPUT_PP;
  GPIO_InitStruct.Pull = GPIO_NOPULL;
  GPIO_InitStruct.Speed = GPIO_SPEED_FREQ_LOW;
  HAL_GPIO_Init(GPIOG, &GPIO_InitStruct);

  /*Configure GPIO pin : PB5 */
  GPIO_InitStruct.Pin = GPIO_PIN_5;
  GPIO_InitStruct.Mode = GPIO_MODE_AF_PP;
  GPIO_InitStruct.Pull = GPIO_NOPULL;
  GPIO_InitStruct.Speed = GPIO_SPEED_FREQ_VERY_HIGH;
  GPIO_InitStruct.Alternate = GPIO_AF12_FMC;
  HAL_GPIO_Init(GPIOB, &GPIO_InitStruct);

  /* EXTI interrupt init*/
  HAL_NVIC_SetPriority(EXTI0_IRQn, 0, 0);
  HAL_NVIC_EnableIRQ(EXTI0_IRQn);

}

/* USER CODE BEGIN 4 */
/**
  * @brief Initialize TX frame
  * @retval None
  */
void generate_uart_frame(void)
{
    tx.frame.header = HEADER;
    tx.frame.msgid  = 0x21;
    tx.frame.datalen = 0x02;
    tx.frame.data[0] = 0x01;
    tx.frame.data[1] = 0x03;
    tx.frame.checksum = 0;
    for(int i=1;i<=2+tx.frame.datalen;i++)
    {
    	tx.frame.checksum ^= tx.tx_data[i];
    }

    tx.frame.footer = FOOTER;
}

/**
  * @brief ISR for External interrupt(PA0)
  * @retval None
  */
void HAL_GPIO_EXTI_Callback(uint16_t GPIO_Pin){
  if(GPIO_Pin==GPIO_PIN_0)
  {
	  HAL_UART_Transmit_IT(&huart1,tx.tx_data, sizeof(tx.tx_data));
  }
}

/**
  * @brief ISR for UART rception (UART3)
  * @retval None
  */
void HAL_UART_RxCpltCallback(UART_HandleTypeDef *huart)
{
  if((huart == &huart3))
  {
	  if((rx_data[0]== HEADER) && (rx_data[6] == FOOTER))
	  {
		  checksum = 0;
		  for(int i=1; i<=4;i++)
			  checksum ^= rx_data[i];

		  if(checksum == rx_data[5])
		  {
			  msgid = rx_data[1];
			  dlc = rx_data[2];
			  data1 = rx_data[3];      //Use for loop(if many)
			  data2 = rx_data[4];
		  }
	  }
	  HAL_UART_Receive_IT(&huart3,(uint8_t*)&rx_data,sizeof(tx.tx_data));
	  memset(rx_data,0, sizeof(rx_data));
  }
}
/* USER CODE END 4 */

void Error_Handler(void)
{
  __disable_irq();
  while (1)
  {
  }
}
